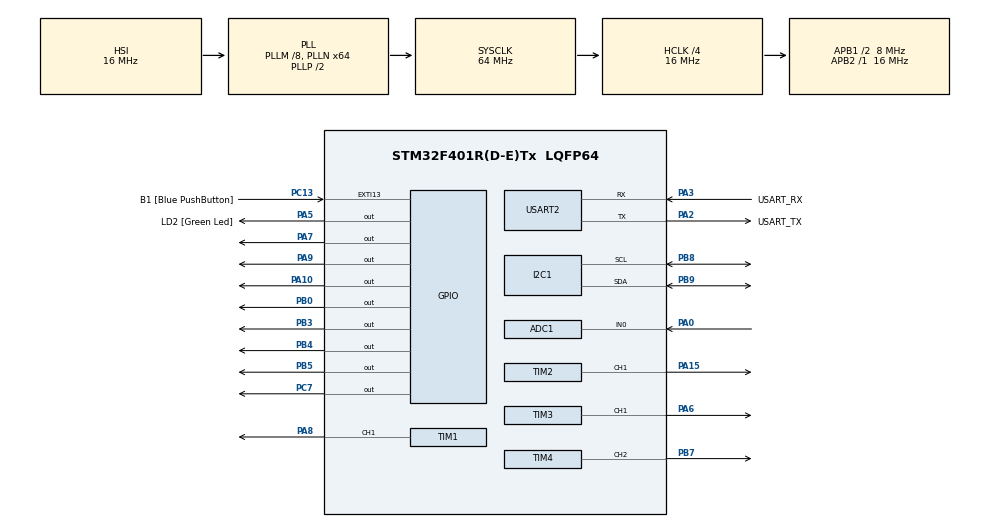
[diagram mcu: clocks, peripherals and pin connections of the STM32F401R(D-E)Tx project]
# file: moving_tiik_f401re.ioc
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ADC1.Channel-1\#ChannelRegularConversion=ADC_CHANNEL_0
ADC1.NbrOfConversionFlag=1
ADC1.Rank-1\#ChannelRegularConversion=1
ADC1.SamplingTime-1\#ChannelRegularConversion=ADC_SAMPLETIME_3CYCLES
ADC1.master=1
I2C1.DualAddressMode=I2C_DUALADDRESS_ENABLE
I2C1.GeneralCallMode=I2C_GENERALCALL_ENABLE
I2C1.NoStretchMode=I2C_NOSTRETCH_ENABLE
I2C1.OwnAddress=8
I2C1.OwnAddress2=20
Mcu.Family=STM32F4
Mcu.Name=STM32F401R(D-E)Tx
Mcu.Package=LQFP64
NVIC.I2C1_ER_IRQn=true\:0\:0\:false\:false\:true\:true\:true\:true
NVIC.I2C1_EV_IRQn=true\:0\:0\:false\:false\:true\:true\:true\:true
NVIC.PriorityGroup=NVIC_PRIORITYGROUP_0
PA0-WKUP.Signal=ADCx_IN0
PA10.Signal=GPIO_Output
PA13.GPIO_Label=TMS
PA13.Mode=Serial_Wire
PA13.Signal=SYS_JTMS-SWDIO
PA14.GPIO_Label=TCK
PA14.Mode=Serial_Wire
PA14.Signal=SYS_JTCK-SWCLK
PA15.Signal=S_TIM2_CH1_ETR
PA2.GPIO_Label=USART_TX
PA2.GPIO_Mode=GPIO_MODE_AF_PP
PA2.GPIO_PuPd=GPIO_NOPULL
PA2.GPIO_Speed=GPIO_SPEED_FREQ_LOW
PA2.Mode=Asynchronous
PA2.Signal=USART2_TX
PA3.GPIO_Label=USART_RX
PA3.GPIO_Mode=GPIO_MODE_AF_PP
PA3.GPIO_PuPd=GPIO_NOPULL
PA3.GPIO_Speed=GPIO_SPEED_FREQ_LOW
PA3.Mode=Asynchronous
PA3.Signal=USART2_RX
PA5.GPIO_Label=LD2 [Green Led]
PA5.GPIO_PuPd=GPIO_NOPULL
PA5.GPIO_Speed=GPIO_SPEED_FREQ_LOW
PA5.Signal=GPIO_Output
PA6.Signal=S_TIM3_CH1
PA7.Signal=GPIO_Output
PA8.Signal=S_TIM1_CH1
PA9.Signal=GPIO_Output
PB0.Signal=GPIO_Output
PB3.Signal=GPIO_Output
PB4.Signal=GPIO_Output
PB5.Signal=GPIO_Output
PB7.Signal=S_TIM4_CH2
PB8.Mode=I2C
PB8.Signal=I2C1_SCL
PB9.Mode=I2C
PB9.Signal=I2C1_SDA
PC13-ANTI_TAMP.GPIO_Label=B1 [Blue PushButton]
PC13-ANTI_TAMP.GPIO_ModeDefaultEXTI=GPIO_MODE_IT_FALLING
PC13-ANTI_TAMP.GPIO_PuPd=GPIO_NOPULL
PC13-ANTI_TAMP.Signal=GPXTI13
PC14-OSC32_IN.Mode=LSE-External-Oscillator
PC14-OSC32_IN.Signal=RCC_OSC32_IN
PC15-OSC32_OUT.Mode=LSE-External-Oscillator
PC15-OSC32_OUT.Signal=RCC_OSC32_OUT
PC7.Signal=GPIO_Output
PH0\ -\ OSC_IN.Mode=HSE-External-Clock-Source
PH0\ -\ OSC_IN.Signal=RCC_OSC_IN
PH1\ -\ OSC_OUT.Mode=HSE-External-Clock-Source
PH1\ -\ OSC_OUT.Signal=RCC_OSC_OUT
ProjectManager.HeapSize=0x200
ProjectManager.StackSize=0x400
ProjectManager.TargetToolchain=STM32CubeIDE
RCC.48MHZClocksFreq_Value=18285714.285714287
RCC.AHBCLKDivider=RCC_SYSCLK_DIV4
RCC.AHBFreq_Value=16000000
RCC.APB1CLKDivider=RCC_HCLK_DIV2
RCC.APB1Freq_Value=8000000
RCC.APB1TimFreq_Value=16000000
RCC.APB2Freq_Value=16000000
RCC.APB2TimFreq_Value=16000000
RCC.CortexFreq_Value=16000000
RCC.HCLKFreq_Value=16000000
RCC.HSE_VALUE=8000000
RCC.HSI_VALUE=16000000
RCC.PLLM=8
RCC.PLLN=64
RCC.PLLQ=7
RCC.SYSCLKFreq_VALUE=64000000
RCC.SYSCLKSource=RCC_SYSCLKSOURCE_PLLCLK
RCC.VCOOutputFreq_Value=128000000
SH.ADCx_IN0.0=ADC1_IN0,IN0
SH.S_TIM1_CH1.0=TIM1_CH1,PWM Generation1 CH1
SH.S_TIM2_CH1_ETR.0=TIM2_CH1,PWM Generation1 CH1
SH.S_TIM3_CH1.0=TIM3_CH1,PWM Generation1 CH1
SH.S_TIM4_CH2.0=TIM4_CH2,PWM Generation2 CH2
TIM1.Channel-PWM\ Generation1\ CH1=TIM_CHANNEL_1
TIM1.Period=3000
TIM1.Prescaler=16-1
TIM1.Pulse-PWM\ Generation1\ CH1=1
TIM2.Channel-PWM\ Generation1\ CH1=TIM_CHANNEL_1
TIM2.Period=3000
TIM2.Prescaler=16-1
TIM2.Pulse-PWM\ Generation1\ CH1=1
TIM3.Channel-PWM\ Generation1\ CH1=TIM_CHANNEL_1
TIM3.Period=3000
TIM3.Prescaler=16-1
TIM3.Pulse-PWM\ Generation1\ CH1=1
TIM4.Channel-PWM\ Generation2\ CH2=TIM_CHANNEL_2
TIM4.Period=3000
TIM4.Prescaler=16-1
TIM4.Pulse-PWM\ Generation2\ CH2=1
TIM5.Channel-Output\ Compare1\ No\ Output=TIM_CHANNEL_1
TIM5.Prescaler=16-1
USART2.VirtualMode=VM_ASYNC
VP_TIM1_VS_ClockSourceINT.Mode=Internal
VP_TIM2_VS_ClockSourceINT.Mode=Internal
VP_TIM3_VS_ClockSourceINT.Mode=Internal
VP_TIM4_VS_ClockSourceINT.Mode=Internal
VP_TIM5_VS_ClockSourceINT.Mode=Internal
VP_TIM5_VS_no_output1.Mode=Output Compare1 No Output
board=NUCLEO-F401RE

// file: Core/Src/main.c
/* USER CODE BEGIN Header */
/**
  ******************************************************************************
  * @file           : main.c
  * @brief          : Main program body
  ******************************************************************************
  * @attention
  *
  * Copyright (c) 2024 STMicroelectronics.
  * All rights reserved.
  *
  * This software is licensed under terms that can be found in the LICENSE file
  * in the root directory of this software component.
  * If no LICENSE file comes with this software, it is provided AS-IS.
  *
  ******************************************************************************
  */
/* USER CODE END Header */
#include "main.h"

/* USER CODE BEGIN Includes */
#include "math.h"
#include <stdio.h>
#include "stm32f4xx_hal.h"
#define COUNTOF(__BUFFER__)   (sizeof(__BUFFER__) / sizeof(*(__BUFFER__)))
#define TXBUFFERSIZE                      (COUNTOF(aTxBuffer))
#define RXBUFFERSIZE                      TXBUFFERSIZE
/* USER CODE END Includes */

/* USER CODE BEGIN PTD */
__IO uint32_t     Transfer_Direction = 0;
__IO uint32_t     Xfer_Complete = 0;
/* USER CODE END PTD */

/* USER CODE BEGIN PD */
uint8_t aTxBuffer[4];
uint8_t aRxBuffer[4];
/* USER CODE END PD */

ADC_HandleTypeDef hadc1;

I2C_HandleTypeDef hi2c1;

TIM_HandleTypeDef htim1;
TIM_HandleTypeDef htim2;
TIM_HandleTypeDef htim3;
TIM_HandleTypeDef htim4;
TIM_HandleTypeDef htim5;

UART_HandleTypeDef huart2;

void SystemClock_Config(void);
static void MX_GPIO_Init(void);
static void MX_USART2_UART_Init(void);
static void MX_TIM1_Init(void);
static void MX_TIM2_Init(void);
static void MX_TIM3_Init(void);
static void MX_TIM4_Init(void);
static void MX_TIM5_Init(void);
static void MX_ADC1_Init(void);
static void MX_I2C1_Init(void);

/* USER CODE BEGIN 0 */
float wheelDiameter = 0.0;
float wheelPerimeter =  0.0;
float stepByTurn = 0.0;
float stepToDistance = 0.0;
uint8_t transferDirection;

typedef struct Motor Motor;
struct Motor {
	TIM_HandleTypeDef timer;
	uint16_t dirPin;
	GPIO_TypeDef *dirGPIO;
	float currentSpeed;
};

Motor motorN;
Motor motorSE;
Motor motorSO;
Motor motorX;

typedef struct Movement Movement;
struct Movement {
	// pour movementType à 0 : aucun mouvement, 1 : rectiligne, à 2 : circulaire
	int movementType;
	float angle;
	float x;
	float y;
	float speed;
	float radius;
};

Movement TiikMovement;

struct Time {
	float deltaTn;
	float deltaT;
	float tn;
	float tn_1;
	float t0;
};

typedef struct DataRx DataRx;
struct DataRx {
	// 0 -> stop ; 1 -> demande de position ; 2 -> envoie de coordonnées
	int command ;
	float rxX;
	float rxY;
	float rxSpeed;
	float rxAngle;
};

DataRx masterCommand;

void initMovement(){
	TiikMovement.movementType = 0;
	TiikMovement.x = 0.0;
	TiikMovement.y = 0.0;
	TiikMovement.speed = 0.0;
	TiikMovement.angle = 0.0;
	TiikMovement.radius = 0.0;
}

// WARNING :
// motorN c'est moteur avec condo C3
// motorS0 c'est moteur avec condo C4
// motorSE c'est moteur avec condo C2

void initMotors(){

	motorN.timer = htim3;
	motorN.dirPin = GPIO_PIN_3;
	motorN.dirGPIO = GPIOB;
	motorN.currentSpeed = 0;

	motorSO.timer = htim1;
	motorSO.dirPin = GPIO_PIN_10;
	motorSO.dirGPIO = GPIOA;
	motorSO.currentSpeed = 0;

	motorSE.timer = htim4;
	motorSE.dirPin = GPIO_PIN_5;
	motorSE.dirGPIO = GPIOB;
	motorSE.currentSpeed = 0;

	motorX.timer = htim2;
	motorX.dirPin = GPIO_PIN_4;
	motorX.dirGPIO = GPIOB;
	motorX.currentSpeed = 0;

}

/*
void setPrescaler(uint8_t prescaler){
	htim1.Init.Prescaler = prescaler-1;
	htim3.Init.Prescaler = prescaler-1;
	htim2.Init.Prescaler = prescaler-1;
	htim4.Init.Prescaler = prescaler-1;
	htim5.Init.Prescaler = 16-1;

}
*/

void updateTimerPeriod(Motor motor, float speed){
	float internalFrequency = 16000000.0;
	float wheelDiameter = 56.5;
	float wheelPerimeter = wheelDiameter * M_PI;
	float stepByTurn = 3200;
	float stepToDistance = stepByTurn/wheelPerimeter;

	motor.currentSpeed = speed;
	if (speed > 0){
		HAL_GPIO_WritePin(motor.dirGPIO, motor.dirPin, GPIO_PIN_SET);
		motor.timer.Instance->ARR = (uint16_t) (internalFrequency/(speed*stepToDistance*16));
	} else if (speed < 0) {
		HAL_GPIO_WritePin(motor.dirGPIO, motor.dirPin, GPIO_PIN_RESET);
		motor.timer.Instance->ARR = (uint16_t) -(internalFrequency/(speed*stepToDistance*16));
	} else {
		motor.timer.Instance->ARR = 0;
	}
	motor.timer.Instance->CNT = 0;
}

// TODO ça : float speedOdd = speed*cos(angle + angleSpeed*__HAL_TIM_GetCounter(&htim2)*(10^(-6)));
/*
void moveForward4Wheel(float speed, float angle, float angleSpeed){

	float factor = 0.0;
	float maxFactor = 1.0;
	float distanceAchieve = 0.0;
	float distanceToAchieve = 100000000.0;
	float acc = 0.02;
	float rampDistance = 0.1*speed*speed;
	float deccDistance = rampDistance;

	float t0 = __HAL_TIM_GetCounter(&htim5)*pow(10,-6);
	float t1 = 0.0;
	int task = 1;

	int value = 100;
	while(value){

		distanceAchieve += speed*factor*t1;
		distanceToAchieve -= speed*factor*t1;

		//if (factor <= maxFactor) factor += acc;
		if (value >= 60) factor += acc;
		if (value <= 40) factor -= acc;
		//if (distanceAchieve == distanceToAchieve) task = 0;

		t1 = __HAL_TIM_GetCounter(&htim5)*pow(10,-6) - t0 + t1;

		float speed1 = (angleSpeed + speed*cos(angle))*factor;
		float speed2 = (angleSpeed + speed*sin(angle))*factor;
		float speed3 = (angleSpeed - speed*cos(angle))*factor;
		float speed4 = (angleSpeed - speed*sin(angle))*factor;

		updateTimerPeriod(motor1,speed1);
		updateTimerPeriod(motor2,speed2);
		updateTimerPeriod(motor3,speed3);
		updateTimerPeriod(motor4,speed4);
		value--;
		HAL_Delay(30);
	}

}
*/

void moveForward3Wheel(float speed,float distance,float angle){

	float speedTiik = speed;

	float distanceAchieve = 0.0;
	float distanceToAchieve = distance;

	int task = 1;

	float rampDistance = 100;

	if (distanceToAchieve < 2*rampDistance){
		rampDistance = distanceToAchieve/2;
	}

	float deltaT = 30;

	float deltaTn = 0.0;
	float tn = 0.0;
	float tn_1 = 0.0;
	float t0 = __HAL_TIM_GetCounter(&htim5)*pow(10,-6);

	while(task){

		speedTiik = speed;

		if (distanceAchieve < rampDistance) {
		    speedTiik = ((speed - 10)*distanceAchieve/rampDistance) +10;
		} else if (distanceToAchieve - distanceAchieve < rampDistance){
			speedTiik = (( - (speed-10)*(distanceAchieve-distanceToAchieve + rampDistance))/rampDistance) + speed + 10;
		}

		float cosTheta = cos(angle);
		float sinTheta = sin(angle);
		float sqrt3 = 1.7320508;
		float speedN = speedTiik*cosTheta;
		float speedSE = ( speedTiik*((-cosTheta/2)-(sqrt3*sinTheta/2)));
		float speedSO = ( speedTiik*((-cosTheta/2)+(sqrt3*sinTheta/2)));

		updateTimerPeriod(motorN,speedN);
		updateTimerPeriod(motorSE,speedSE);
		updateTimerPeriod(motorSO,speedSO);

		tn = (__HAL_TIM_GetCounter(&htim5)*pow(10,-6) - t0);
		deltaTn = tn - tn_1;
		tn_1 = tn;
		distanceAchieve += speedTiik * deltaTn;

		if (distanceAchieve > distanceToAchieve){
			task = 0;
		}

		HAL_Delay(deltaT);
	}

	updateTimerPeriod(motorN,0);
	updateTimerPeriod(motorSE,0);
	updateTimerPeriod(motorSO,0);
	HAL_Delay(deltaT);

}

void finishMovementRush(){

}

/* USER CODE END 0 */

int main(void)
{

  /* MCU Configuration--------------------------------------------------------*/

  /* Reset of all peripherals, Initializes the Flash interface and the Systick. */
  HAL_Init();

  /* USER CODE BEGIN Init */
  aRxBuffer[0]=0x00;
  aRxBuffer[1]=0x00;
  aRxBuffer[2]=0x00;
  aRxBuffer[3]=0x00;
  aTxBuffer[0]=0x01;
  aTxBuffer[1]=0x02;
  aTxBuffer[2]=0x03;
  aTxBuffer[3]=0x04;
  /* USER CODE END Init */

  /* Configure the system clock */
  SystemClock_Config();

  /* Initialize all configured peripherals */
  MX_GPIO_Init();
  MX_USART2_UART_Init();
  MX_TIM1_Init();
  MX_TIM2_Init();
  MX_TIM3_Init();
  MX_TIM4_Init();
  MX_TIM5_Init();
  MX_ADC1_Init();
  MX_I2C1_Init();
  /* USER CODE BEGIN 2 */

  HAL_GPIO_WritePin(GPIOA, GPIO_PIN_9, GPIO_PIN_SET);
  HAL_GPIO_WritePin(GPIOC, GPIO_PIN_7, GPIO_PIN_SET);
  HAL_GPIO_WritePin(GPIOA, GPIO_PIN_7, GPIO_PIN_SET);

  HAL_TIM_PWM_Start(&htim1,TIM_CHANNEL_1);
  HAL_TIM_PWM_Start(&htim2,TIM_CHANNEL_1);
  HAL_TIM_PWM_Start(&htim3,TIM_CHANNEL_1);
  HAL_TIM_PWM_Start(&htim4,TIM_CHANNEL_2);
  HAL_TIM_Base_Start_IT(&htim5);
  HAL_I2C_Init(&hi2c1);

  initMovement();
  initMotors();

  if(HAL_I2C_EnableListen_IT(&hi2c1) != HAL_OK)
  {
    /* Transfer error in reception process */

    Error_Handler();
  }
  /* USER CODE END 2 */

  /* Infinite loop */
  /* USER CODE BEGIN WHILE */
  while (1)
  {
      if (Xfer_Complete ==1)
{
       HAL_Delay(1);
        /*##- Put I2C peripheral in listen mode process ###########################*/
    if(HAL_I2C_EnableListen_IT(&hi2c1) != HAL_OK)
    {
      /* Transfer error in reception process */
      Error_Handler();
    }
      Xfer_Complete =0;
      }
    /* USER CODE END WHILE */

  }
}

void SystemClock_Config(void)
{
  RCC_OscInitTypeDef RCC_OscInitStruct = {0};
  RCC_ClkInitTypeDef RCC_ClkInitStruct = {0};

  /** Configure the main internal regulator output voltage
  */
  __HAL_RCC_PWR_CLK_ENABLE();
  __HAL_PWR_VOLTAGESCALING_CONFIG(PWR_REGULATOR_VOLTAGE_SCALE2);

  /** Initializes the RCC Oscillators according to the specified parameters
  * in the RCC_OscInitTypeDef structure.
  */
  RCC_OscInitStruct.OscillatorType = RCC_OSCILLATORTYPE_HSI;
  RCC_OscInitStruct.HSIState = RCC_HSI_ON;
  RCC_OscInitStruct.HSICalibrationValue = RCC_HSICALIBRATION_DEFAULT;
  RCC_OscInitStruct.PLL.PLLState = RCC_PLL_ON;
  RCC_OscInitStruct.PLL.PLLSource = RCC_PLLSOURCE_HSI;
  RCC_OscInitStruct.PLL.PLLM = 8;
  RCC_OscInitStruct.PLL.PLLN = 64;
  RCC_OscInitStruct.PLL.PLLP = RCC_PLLP_DIV2;
  RCC_OscInitStruct.PLL.PLLQ = 7;
  if (HAL_RCC_OscConfig(&RCC_OscInitStruct) != HAL_OK)
  {
    Error_Handler();
  }

  /** Initializes the CPU, AHB and APB buses clocks
  */
  RCC_ClkInitStruct.ClockType = RCC_CLOCKTYPE_HCLK|RCC_CLOCKTYPE_SYSCLK
                              |RCC_CLOCKTYPE_PCLK1|RCC_CLOCKTYPE_PCLK2;
  RCC_ClkInitStruct.SYSCLKSource = RCC_SYSCLKSOURCE_PLLCLK;
  RCC_ClkInitStruct.AHBCLKDivider = RCC_SYSCLK_DIV4;
  RCC_ClkInitStruct.APB1CLKDivider = RCC_HCLK_DIV2;
  RCC_ClkInitStruct.APB2CLKDivider = RCC_HCLK_DIV1;

  if (HAL_RCC_ClockConfig(&RCC_ClkInitStruct, FLASH_LATENCY_0) != HAL_OK)
  {
    Error_Handler();
  }
}

static void MX_ADC1_Init(void)
{

  ADC_ChannelConfTypeDef sConfig = {0};

  /** Configure the global features of the ADC (Clock, Resolution, Data Alignment and number of conversion)
  */
  hadc1.Instance = ADC1;
  hadc1.Init.ClockPrescaler = ADC_CLOCK_SYNC_PCLK_DIV2;
  hadc1.Init.Resolution = ADC_RESOLUTION_12B;
  hadc1.Init.ScanConvMode = DISABLE;
  hadc1.Init.ContinuousConvMode = DISABLE;
  hadc1.Init.DiscontinuousConvMode = DISABLE;
  hadc1.Init.ExternalTrigConvEdge = ADC_EXTERNALTRIGCONVEDGE_NONE;
  hadc1.Init.ExternalTrigConv = ADC_SOFTWARE_START;
  hadc1.Init.DataAlign = ADC_DATAALIGN_RIGHT;
  hadc1.Init.NbrOfConversion = 1;
  hadc1.Init.DMAContinuousRequests = DISABLE;
  hadc1.Init.EOCSelection = ADC_EOC_SINGLE_CONV;
  if (HAL_ADC_Init(&hadc1) != HAL_OK)
  {
    Error_Handler();
  }

  /** Configure for the selected ADC regular channel its corresponding rank in the sequencer and its sample time.
  */
  sConfig.Channel = ADC_CHANNEL_0;
  sConfig.Rank = 1;
  sConfig.SamplingTime = ADC_SAMPLETIME_3CYCLES;
  if (HAL_ADC_ConfigChannel(&hadc1, &sConfig) != HAL_OK)
  {
    Error_Handler();
  }

}

static void MX_I2C1_Init(void)
{

  hi2c1.Instance = I2C1;
  hi2c1.Init.ClockSpeed = 100000;
  hi2c1.Init.DutyCycle = I2C_DUTYCYCLE_2;
  hi2c1.Init.OwnAddress1 = 16;
  hi2c1.Init.AddressingMode = I2C_ADDRESSINGMODE_7BIT;
  hi2c1.Init.DualAddressMode = I2C_DUALADDRESS_ENABLE;
  hi2c1.Init.OwnAddress2 = 40;
  hi2c1.Init.GeneralCallMode = I2C_GENERALCALL_ENABLE;
  hi2c1.Init.NoStretchMode = I2C_NOSTRETCH_ENABLE;
  if (HAL_I2C_Init(&hi2c1) != HAL_OK)
  {
    Error_Handler();
  }

}

static void MX_TIM1_Init(void)
{

  TIM_ClockConfigTypeDef sClockSourceConfig = {0};
  TIM_MasterConfigTypeDef sMasterConfig = {0};
  TIM_OC_InitTypeDef sConfigOC = {0};
  TIM_BreakDeadTimeConfigTypeDef sBreakDeadTimeConfig = {0};

  htim1.Instance = TIM1;
  htim1.Init.Prescaler = 16-1;
  htim1.Init.CounterMode = TIM_COUNTERMODE_UP;
  htim1.Init.Period = 3000;
  htim1.Init.ClockDivision = TIM_CLOCKDIVISION_DIV1;
  htim1.Init.RepetitionCounter = 0;
  htim1.Init.AutoReloadPreload = TIM_AUTORELOAD_PRELOAD_DISABLE;
  if (HAL_TIM_Base_Init(&htim1) != HAL_OK)
  {
    Error_Handler();
  }
  sClockSourceConfig.ClockSource = TIM_CLOCKSOURCE_INTERNAL;
  if (HAL_TIM_ConfigClockSource(&htim1, &sClockSourceConfig) != HAL_OK)
  {
    Error_Handler();
  }
  if (HAL_TIM_PWM_Init(&htim1) != HAL_OK)
  {
    Error_Handler();
  }
  sMasterConfig.MasterOutputTrigger = TIM_TRGO_RESET;
  sMasterConfig.MasterSlaveMode = TIM_MASTERSLAVEMODE_DISABLE;
  if (HAL_TIMEx_MasterConfigSynchronization(&htim1, &sMasterConfig) != HAL_OK)
  {
    Error_Handler();
  }
  sConfigOC.OCMode = TIM_OCMODE_PWM1;
  sConfigOC.Pulse = 1;
  sConfigOC.OCPolarity = TIM_OCPOLARITY_HIGH;
  sConfigOC.OCNPolarity = TIM_OCNPOLARITY_HIGH;
  sConfigOC.OCFastMode = TIM_OCFAST_DISABLE;
  sConfigOC.OCIdleState = TIM_OCIDLESTATE_RESET;
  sConfigOC.OCNIdleState = TIM_OCNIDLESTATE_RESET;
  if (HAL_TIM_PWM_ConfigChannel(&htim1, &sConfigOC, TIM_CHANNEL_1) != HAL_OK)
  {
    Error_Handler();
  }
  sBreakDeadTimeConfig.OffStateRunMode = TIM_OSSR_DISABLE;
  sBreakDeadTimeConfig.OffStateIDLEMode = TIM_OSSI_DISABLE;
  sBreakDeadTimeConfig.LockLevel = TIM_LOCKLEVEL_OFF;
  sBreakDeadTimeConfig.DeadTime = 0;
  sBreakDeadTimeConfig.BreakState = TIM_BREAK_DISABLE;
  sBreakDeadTimeConfig.BreakPolarity = TIM_BREAKPOLARITY_HIGH;
  sBreakDeadTimeConfig.AutomaticOutput = TIM_AUTOMATICOUTPUT_DISABLE;
  if (HAL_TIMEx_ConfigBreakDeadTime(&htim1, &sBreakDeadTimeConfig) != HAL_OK)
  {
    Error_Handler();
  }
  HAL_TIM_MspPostInit(&htim1);

}

static void MX_TIM2_Init(void)
{

  TIM_ClockConfigTypeDef sClockSourceConfig = {0};
  TIM_MasterConfigTypeDef sMasterConfig = {0};
  TIM_OC_InitTypeDef sConfigOC = {0};

  htim2.Instance = TIM2;
  htim2.Init.Prescaler = 16-1;
  htim2.Init.CounterMode = TIM_COUNTERMODE_UP;
  htim2.Init.Period = 3000;
  htim2.Init.ClockDivision = TIM_CLOCKDIVISION_DIV1;
  htim2.Init.AutoReloadPreload = TIM_AUTORELOAD_PRELOAD_DISABLE;
  if (HAL_TIM_Base_Init(&htim2) != HAL_OK)
  {
    Error_Handler();
  }
  sClockSourceConfig.ClockSource = TIM_CLOCKSOURCE_INTERNAL;
  if (HAL_TIM_ConfigClockSource(&htim2, &sClockSourceConfig) != HAL_OK)
  {
    Error_Handler();
  }
  if (HAL_TIM_PWM_Init(&htim2) != HAL_OK)
  {
    Error_Handler();
  }
  sMasterConfig.MasterOutputTrigger = TIM_TRGO_RESET;
  sMasterConfig.MasterSlaveMode = TIM_MASTERSLAVEMODE_DISABLE;
  if (HAL_TIMEx_MasterConfigSynchronization(&htim2, &sMasterConfig) != HAL_OK)
  {
    Error_Handler();
  }
  sConfigOC.OCMode = TIM_OCMODE_PWM1;
  sConfigOC.Pulse = 1;
  sConfigOC.OCPolarity = TIM_OCPOLARITY_HIGH;
  sConfigOC.OCFastMode = TIM_OCFAST_DISABLE;
  if (HAL_TIM_PWM_ConfigChannel(&htim2, &sConfigOC, TIM_CHANNEL_1) != HAL_OK)
  {
    Error_Handler();
  }
  HAL_TIM_MspPostInit(&htim2);

}

static void MX_TIM3_Init(void)
{

  TIM_ClockConfigTypeDef sClockSourceConfig = {0};
  TIM_MasterConfigTypeDef sMasterConfig = {0};
  TIM_OC_InitTypeDef sConfigOC = {0};

  htim3.Instance = TIM3;
  htim3.Init.Prescaler = 16-1;
  htim3.Init.CounterMode = TIM_COUNTERMODE_UP;
  htim3.Init.Period = 3000;
  htim3.Init.ClockDivision = TIM_CLOCKDIVISION_DIV1;
  htim3.Init.AutoReloadPreload = TIM_AUTORELOAD_PRELOAD_DISABLE;
  if (HAL_TIM_Base_Init(&htim3) != HAL_OK)
  {
    Error_Handler();
  }
  sClockSourceConfig.ClockSource = TIM_CLOCKSOURCE_INTERNAL;
  if (HAL_TIM_ConfigClockSource(&htim3, &sClockSourceConfig) != HAL_OK)
  {
    Error_Handler();
  }
  if (HAL_TIM_PWM_Init(&htim3) != HAL_OK)
  {
    Error_Handler();
  }
  sMasterConfig.MasterOutputTrigger = TIM_TRGO_RESET;
  sMasterConfig.MasterSlaveMode = TIM_MASTERSLAVEMODE_DISABLE;
  if (HAL_TIMEx_MasterConfigSynchronization(&htim3, &sMasterConfig) != HAL_OK)
  {
    Error_Handler();
  }
  sConfigOC.OCMode = TIM_OCMODE_PWM1;
  sConfigOC.Pulse = 1;
  sConfigOC.OCPolarity = TIM_OCPOLARITY_HIGH;
  sConfigOC.OCFastMode = TIM_OCFAST_DISABLE;
  if (HAL_TIM_PWM_ConfigChannel(&htim3, &sConfigOC, TIM_CHANNEL_1) != HAL_OK)
  {
    Error_Handler();
  }
  HAL_TIM_MspPostInit(&htim3);

}

static void MX_TIM4_Init(void)
{

  TIM_ClockConfigTypeDef sClockSourceConfig = {0};
  TIM_MasterConfigTypeDef sMasterConfig = {0};
  TIM_OC_InitTypeDef sConfigOC = {0};

  htim4.Instance = TIM4;
  htim4.Init.Prescaler = 16-1;
  htim4.Init.CounterMode = TIM_COUNTERMODE_UP;
  htim4.Init.Period = 3000;
  htim4.Init.ClockDivision = TIM_CLOCKDIVISION_DIV1;
  htim4.Init.AutoReloadPreload = TIM_AUTORELOAD_PRELOAD_DISABLE;
  if (HAL_TIM_Base_Init(&htim4) != HAL_OK)
  {
    Error_Handler();
  }
  sClockSourceConfig.ClockSource = TIM_CLOCKSOURCE_INTERNAL;
  if (HAL_TIM_ConfigClockSource(&htim4, &sClockSourceConfig) != HAL_OK)
  {
    Error_Handler();
  }
  if (HAL_TIM_PWM_Init(&htim4) != HAL_OK)
  {
    Error_Handler();
  }
  sMasterConfig.MasterOutputTrigger = TIM_TRGO_RESET;
  sMasterConfig.MasterSlaveMode = TIM_MASTERSLAVEMODE_DISABLE;
  if (HAL_TIMEx_MasterConfigSynchronization(&htim4, &sMasterConfig) != HAL_OK)
  {
    Error_Handler();
  }
  sConfigOC.OCMode = TIM_OCMODE_PWM1;
  sConfigOC.Pulse = 1;
  sConfigOC.OCPolarity = TIM_OCPOLARITY_HIGH;
  sConfigOC.OCFastMode = TIM_OCFAST_DISABLE;
  if (HAL_TIM_PWM_ConfigChannel(&htim4, &sConfigOC, TIM_CHANNEL_2) != HAL_OK)
  {
    Error_Handler();
  }
  HAL_TIM_MspPostInit(&htim4);

}

static void MX_TIM5_Init(void)
{

  TIM_ClockConfigTypeDef sClockSourceConfig = {0};
  TIM_MasterConfigTypeDef sMasterConfig = {0};
  TIM_OC_InitTypeDef sConfigOC = {0};

  htim5.Instance = TIM5;
  htim5.Init.Prescaler = 16-1;
  htim5.Init.CounterMode = TIM_COUNTERMODE_UP;
  htim5.Init.Period = 4294967295;
  htim5.Init.ClockDivision = TIM_CLOCKDIVISION_DIV1;
  htim5.Init.AutoReloadPreload = TIM_AUTORELOAD_PRELOAD_DISABLE;
  if (HAL_TIM_Base_Init(&htim5) != HAL_OK)
  {
    Error_Handler();
  }
  sClockSourceConfig.ClockSource = TIM_CLOCKSOURCE_INTERNAL;
  if (HAL_TIM_ConfigClockSource(&htim5, &sClockSourceConfig) != HAL_OK)
  {
    Error_Handler();
  }
  if (HAL_TIM_OC_Init(&htim5) != HAL_OK)
  {
    Error_Handler();
  }
  sMasterConfig.MasterOutputTrigger = TIM_TRGO_RESET;
  sMasterConfig.MasterSlaveMode = TIM_MASTERSLAVEMODE_DISABLE;
  if (HAL_TIMEx_MasterConfigSynchronization(&htim5, &sMasterConfig) != HAL_OK)
  {
    Error_Handler();
  }
  sConfigOC.OCMode = TIM_OCMODE_TIMING;
  sConfigOC.Pulse = 0;
  sConfigOC.OCPolarity = TIM_OCPOLARITY_HIGH;
  sConfigOC.OCFastMode = TIM_OCFAST_DISABLE;
  if (HAL_TIM_OC_ConfigChannel(&htim5, &sConfigOC, TIM_CHANNEL_1) != HAL_OK)
  {
    Error_Handler();
  }

}

static void MX_USART2_UART_Init(void)
{

  huart2.Instance = USART2;
  huart2.Init.BaudRate = 115200;
  huart2.Init.WordLength = UART_WORDLENGTH_8B;
  huart2.Init.StopBits = UART_STOPBITS_1;
  huart2.Init.Parity = UART_PARITY_NONE;
  huart2.Init.Mode = UART_MODE_TX_RX;
  huart2.Init.HwFlowCtl = UART_HWCONTROL_NONE;
  huart2.Init.OverSampling = UART_OVERSAMPLING_16;
  if (HAL_UART_Init(&huart2) != HAL_OK)
  {
    Error_Handler();
  }

}

static void MX_GPIO_Init(void)
{
  GPIO_InitTypeDef GPIO_InitStruct = {0};

  /* GPIO Ports Clock Enable */
  __HAL_RCC_GPIOC_CLK_ENABLE();
  __HAL_RCC_GPIOH_CLK_ENABLE();
  __HAL_RCC_GPIOA_CLK_ENABLE();
  __HAL_RCC_GPIOB_CLK_ENABLE();

  /*Configure GPIO pin Output Level */
  HAL_GPIO_WritePin(GPIOA, LD2_Pin|GPIO_PIN_7|GPIO_PIN_9|GPIO_PIN_10, GPIO_PIN_RESET);

  /*Configure GPIO pin Output Level */
  HAL_GPIO_WritePin(GPIOB, GPIO_PIN_0|GPIO_PIN_3|GPIO_PIN_4|GPIO_PIN_5, GPIO_PIN_RESET);

  /*Configure GPIO pin Output Level */
  HAL_GPIO_WritePin(GPIOC, GPIO_PIN_7, GPIO_PIN_RESET);

  /*Configure GPIO pin : B1_Pin */
  GPIO_InitStruct.Pin = B1_Pin;
  GPIO_InitStruct.Mode = GPIO_MODE_IT_FALLING;
  GPIO_InitStruct.Pull = GPIO_NOPULL;
  HAL_GPIO_Init(B1_GPIO_Port, &GPIO_InitStruct);

  /*Configure GPIO pins : LD2_Pin PA7 PA9 PA10 */
  GPIO_InitStruct.Pin = LD2_Pin|GPIO_PIN_7|GPIO_PIN_9|GPIO_PIN_10;
  GPIO_InitStruct.Mode = GPIO_MODE_OUTPUT_PP;
  GPIO_InitStruct.Pull = GPIO_NOPULL;
  GPIO_InitStruct.Speed = GPIO_SPEED_FREQ_LOW;
  HAL_GPIO_Init(GPIOA, &GPIO_InitStruct);

  /*Configure GPIO pins : PB0 PB3 PB4 PB5 */
  GPIO_InitStruct.Pin = GPIO_PIN_0|GPIO_PIN_3|GPIO_PIN_4|GPIO_PIN_5;
  GPIO_InitStruct.Mode = GPIO_MODE_OUTPUT_PP;
  GPIO_InitStruct.Pull = GPIO_NOPULL;
  GPIO_InitStruct.Speed = GPIO_SPEED_FREQ_LOW;
  HAL_GPIO_Init(GPIOB, &GPIO_InitStruct);

  /*Configure GPIO pin : PC7 */
  GPIO_InitStruct.Pin = GPIO_PIN_7;
  GPIO_InitStruct.Mode = GPIO_MODE_OUTPUT_PP;
  GPIO_InitStruct.Pull = GPIO_NOPULL;
  GPIO_InitStruct.Speed = GPIO_SPEED_FREQ_LOW;
  HAL_GPIO_Init(GPIOC, &GPIO_InitStruct);

}

/* USER CODE BEGIN 4 */

/**
  * @brief  Tx Transfer completed callback.
  * @param  I2cHandle: I2C handle.
  * @note   This example shows a simple way to report end of IT Tx transfer, and
  *         you can add your own implementation.
  * @retval None
  */

void HAL_I2C_SlaveTxCpltCallback(I2C_HandleTypeDef *I2cHandle)
{
  /* Toggle LED4: Transfer in transmission process is correct */
  Xfer_Complete = 1;
  aTxBuffer[0]++;
  aTxBuffer[1]++;
  aTxBuffer[2]++;
  aTxBuffer[3]++;

}

/**
  * @brief  Rx Transfer completed callback.
  * @param  I2cHandle: I2C handle
  * @note   This example shows a simple way to report end of IT Rx transfer, and
  *         you can add your own implementation.
  * @retval None
  */
void HAL_I2C_SlaveRxCpltCallback(I2C_HandleTypeDef *I2cHandle)
{
  /* Toggle LED4: Transfer in reception process is correct */
  Xfer_Complete = 1;
  aRxBuffer[0]=0x00;
  aRxBuffer[1]=0x00;
  aRxBuffer[2]=0x00;
  aRxBuffer[3]=0x00;
}

/**
  * @brief  Slave Address Match callback.
  * @param  hi2c Pointer to a I2C_HandleTypeDef structure that contains
  *                the configuration information for the specified I2C.
  * @param  TransferDirection: Master request Transfer Direction (Write/Read), value of @ref I2C_XferOptions_definition
  * @param  AddrMatchCode: Address Match Code
  * @retval None
  */
void HAL_I2C_AddrCallback(I2C_HandleTypeDef *hi2c, uint8_t TransferDirection, uint16_t AddrMatchCode)
{
  Transfer_Direction = TransferDirection;
  if (Transfer_Direction != 0) {
	  if (HAL_I2C_Slave_Seq_Transmit_IT(&hi2c1, (uint8_t *)aTxBuffer, TXBUFFERSIZE, I2C_FIRST_AND_LAST_FRAME) != HAL_OK){
		  Error_Handler();
	  }

  } else {
	  if (HAL_I2C_Slave_Seq_Receive_IT(&hi2c1, (uint8_t *)aRxBuffer, RXBUFFERSIZE, I2C_FIRST_AND_LAST_FRAME) != HAL_OK) {
		  Error_Handler();
	  }
  }

}

/**
  * @brief  Listen Complete callback.
  * @param  hi2c Pointer to a I2C_HandleTypeDef structure that contains
  *                the configuration information for the specified I2C.
  * @retval None
  */
void HAL_I2C_ListenCpltCallback(I2C_HandleTypeDef *hi2c)
{
}

/**
  * @brief  I2C error callbacks.
  * @param  I2cHandle: I2C handle
  * @note   This example shows a simple way to report transfer error, and you can
  *         add your own implementation.
  * @retval None
  */
void HAL_I2C_ErrorCallback(I2C_HandleTypeDef *I2cHandle)
{
  /** Error_Handler() function is called when error occurs.
    * 1- When Slave doesn't acknowledge its address, Master restarts communication.
    * 2- When Master doesn't acknowledge the last data transferred, Slave doesn't care in this example.
    */
  if (HAL_I2C_GetError(I2cHandle) != HAL_I2C_ERROR_AF)
  {
    Error_Handler();
  }
}

/* USER CODE END 4 */

void Error_Handler(void)
{
  __disable_irq();
  while (1)
  {
  }
}
